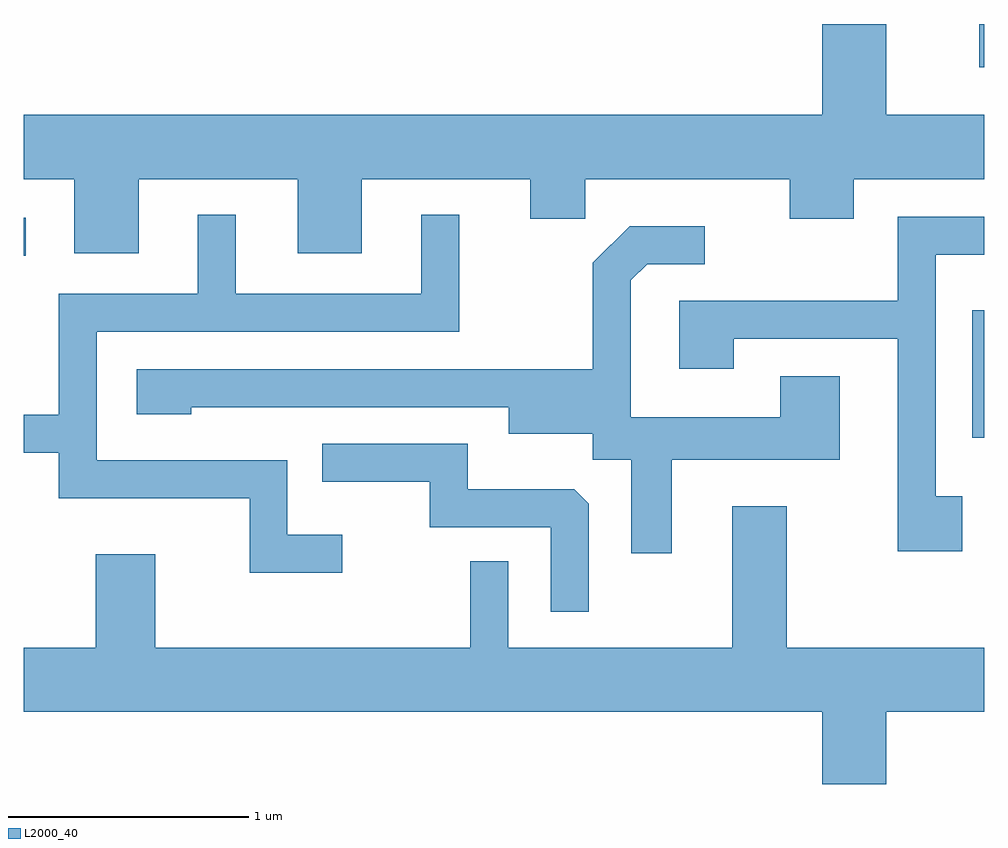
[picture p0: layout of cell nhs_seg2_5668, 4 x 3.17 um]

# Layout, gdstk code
import gdstk
lib = gdstk.Library(unit=1e-6, precision=1e-09)
def R(c, l, rs):  # rectangles x0, y0, x1, y1
    for r in rs: c.add(gdstk.rectangle(r[:2], r[2:], *l))
def P(c, l, *ps):  # polygons
    for p in ps: c.add(gdstk.Polygon(p, *l))
L2000_40 = (2000, 40)

nhs_seg2_5668 = lib.new_cell('nhs_seg2_5668')
R(nhs_seg2_5668, L2000_40, [(355.561,1096.078,355.611,1096.609), (351.611,1096.836,351.618,1096.994), (355.591,1097.621,355.611,1097.802)])
P(nhs_seg2_5668, L2000_40, [(351.611,1097.156),(351.821,1097.156),(351.821,1096.846),(352.089,1096.846),(352.089,1097.156),(352.751,1097.156),(352.751,1096.846),(353.019,1096.846),(353.019,1097.156),(353.721,1097.156),(353.721,1096.991),(353.949,1096.991),(353.949,1097.156),(354.801,1097.156),(354.801,1096.991),(355.069,1096.991),(355.069,1097.156),(355.611,1097.156),(355.611,1097.424),(355.204,1097.424),(355.204,1097.802),(354.936,1097.802),(354.936,1097.424),(351.611,1097.424)],
  [(352.938,1095.674),(352.709,1095.674),(352.709,1095.984),(351.914,1095.984),(351.914,1096.521),(353.424,1096.521),(353.424,1097.008),(353.266,1097.008),(353.266,1096.679),(352.494,1096.679),(352.494,1097.008),(352.336,1097.008),(352.336,1096.679),(351.756,1096.679),(351.756,1096.174),(351.611,1096.174),(351.611,1096.016),(351.756,1096.016),(351.756,1095.826),(352.551,1095.826),(352.551,1095.516),(352.938,1095.516)],
  [(355.519,1095.834),(355.409,1095.834),(355.409,1096.841),(355.611,1096.841),(355.611,1096.999),(355.251,1096.999),(355.251,1096.649),(354.341,1096.649),(354.341,1096.366),(354.569,1096.366),(354.569,1096.491),(355.251,1096.491),(355.251,1095.606),(355.519,1095.606)],
  [(354.309,1095.986),(355.009,1095.986),(355.009,1096.334),(354.761,1096.334),(354.761,1096.164),(354.139,1096.164),(354.139,1096.734),(354.207,1096.801),(354.448,1096.801),(354.448,1096.959),(354.134,1096.959),(353.981,1096.807),(353.981,1096.364),(352.081,1096.364),(352.081,1096.176),(352.309,1096.176),(352.309,1096.206),(353.631,1096.206),(353.631,1096.096),(353.981,1096.096),(353.981,1095.986),(354.141,1095.986),(354.141,1095.598),(354.309,1095.598)],
  [(353.964,1095.804),(353.904,1095.864),(353.459,1095.864),(353.459,1096.054),(352.853,1096.054),(352.853,1095.896),(353.301,1095.896),(353.301,1095.706),(353.806,1095.706),(353.806,1095.353),(353.964,1095.353)],
  [(355.204,1094.936),(355.611,1094.936),(355.611,1095.204),(354.789,1095.204),(354.789,1095.794),(354.561,1095.794),(354.561,1095.204),(353.629,1095.204),(353.629,1095.563),(353.471,1095.563),(353.471,1095.204),(352.159,1095.204),(352.159,1095.594),(351.911,1095.594),(351.911,1095.204),(351.611,1095.204),(351.611,1094.936),(354.936,1094.936),(354.936,1094.636),(355.204,1094.636)])

lib.write_gds('nhs_seg2_5668.gds')
